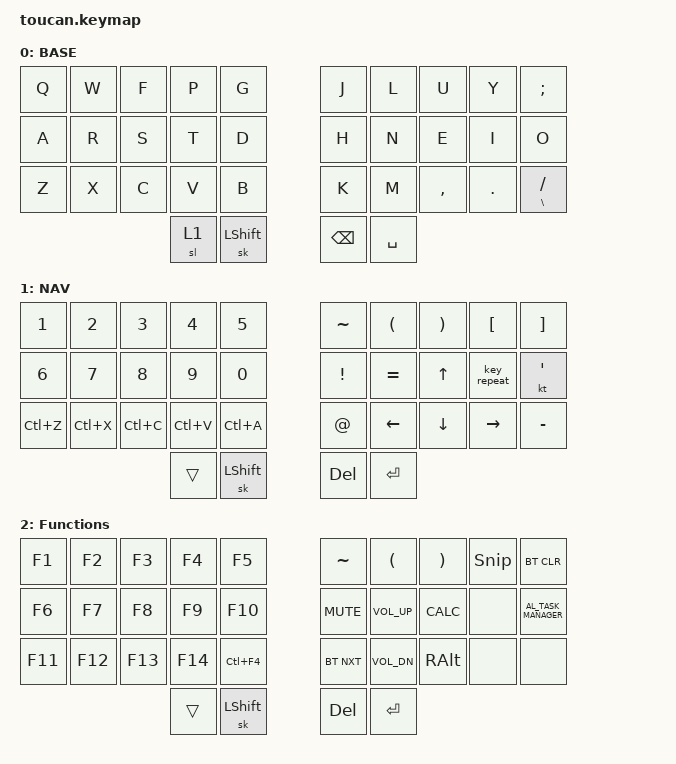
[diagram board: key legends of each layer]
#include <behaviors.dtsi>
#include <dt-bindings/zmk/bt.h>
#include <dt-bindings/zmk/keys.h>

#define BASE 0
#define NAV  1
#define SYM  2
#define ADJ  3

/ {
    conditional_layers {
        compatible = "zmk,conditional-layers";

        tri_layer {
            if-layers = <1 2>;
            then-layer = <3>;
        };
    };

    combos {
        compatible = "zmk,combos";

        Enter {
            bindings = <&kp ENTER>;
            key-positions = <13 12>;
        };

        Delete {
            bindings = <&kp DEL>;
            key-positions = <4 3>;
        };

        Tab {
            bindings = <&kp TAB>;
            key-positions = <3 2>;
        };

        Escape {
            bindings = <&kp ESCAPE>;
            key-positions = <1 0>;
        };

        control {
            bindings = <&kp LEFT_CONTROL>;
            key-positions = <11 10>;
        };

        Delete_words {
            bindings = <&Delete_Words>;
            key-positions = <20 21 32>;
        };

        Functions {
            bindings = <&sl 2>;
            key-positions = <30 31>;
        };
    };

    macros {
        Delete_Words: Delete_Words {
            compatible = "zmk,behavior-macro";
            #binding-cells = <0>;
            bindings = <&macro_tap>, <&kp LEFT_CONTROL &kp DEL>;

            label = "DELETE_WORDS";
        };

        Snip: Snip {
            compatible = "zmk,behavior-macro";
            #binding-cells = <0>;
            bindings = <&macro_tap>, <&kp LEFT_GUI &kp LEFT_SHIFT &kp S>;

            label = "SNIP";
        };
    };

    keymap {
        compatible = "zmk,keymap";

        base {
            display-name = "BASE";
            bindings = <
&kp Q  &kp W  &kp F           &kp P          &kp G      &kp J  &kp L  &kp U      &kp Y    &kp SEMICOLON
&kp A  &kp R  &kp S           &kp T          &kp D      &kp H  &kp N  &kp E      &kp I    &kp O
&kp Z  &kp X  &kp C           &kp V          &kp B      &kp K  &kp M  &kp COMMA  &kp DOT  &mt BACKSLASH SLASH
       &sl 1  &sk LEFT_SHIFT  &kp BACKSPACE  &kp SPACE
            >;
        };

        Numbers {
            display-name = "NAV";
            bindings = <
&kp N1        &kp N2     &kp N3          &kp N4     &kp N5     &kp TILDE        &kp LEFT_PARENTHESIS  &kp RIGHT_PARENTHESIS  &kp LEFT_BRACKET  &kp RIGHT_BRACKET
&kp NUMBER_6  &kp N7     &kp N8          &kp N9     &kp N0     &kp EXCLAMATION  &kp EQUAL             &kp UP                 &key_repeat       &kt SINGLE_QUOTE
&kp LC(Z)     &kp LC(X)  &kp LC(C)       &kp LC(V)  &kp LC(A)  &kp AT_SIGN      &kp LEFT_ARROW        &kp DOWN_ARROW         &kp RIGHT_ARROW   &kp MINUS
              &trans     &sk LEFT_SHIFT  &kp DEL    &kp ENTER
            >;
        };

        Functions {
            display-name = "Functions";
            bindings = <
&kp F1   &kp F2   &kp F3          &kp F4   &kp F5      &kp TILDE   &kp LEFT_PARENTHESIS  &kp RIGHT_PARENTHESIS  &Snip  &bt BT_CLR
&kp F6   &kp F7   &kp F8          &kp F9   &kp F10     &kp C_MUTE  &kp C_VOLUME_UP       &kp K_CALC             &none  &kp C_AL_TASK_MANAGER
&kp F11  &kp F12  &kp F13         &kp F14  &kp LC(F4)  &bt BT_NXT  &kp C_VOL_DN          &kp RIGHT_ALT          &none  &none
         &trans   &sk LEFT_SHIFT  &kp DEL  &kp ENTER
            >;
        };
    };
};
